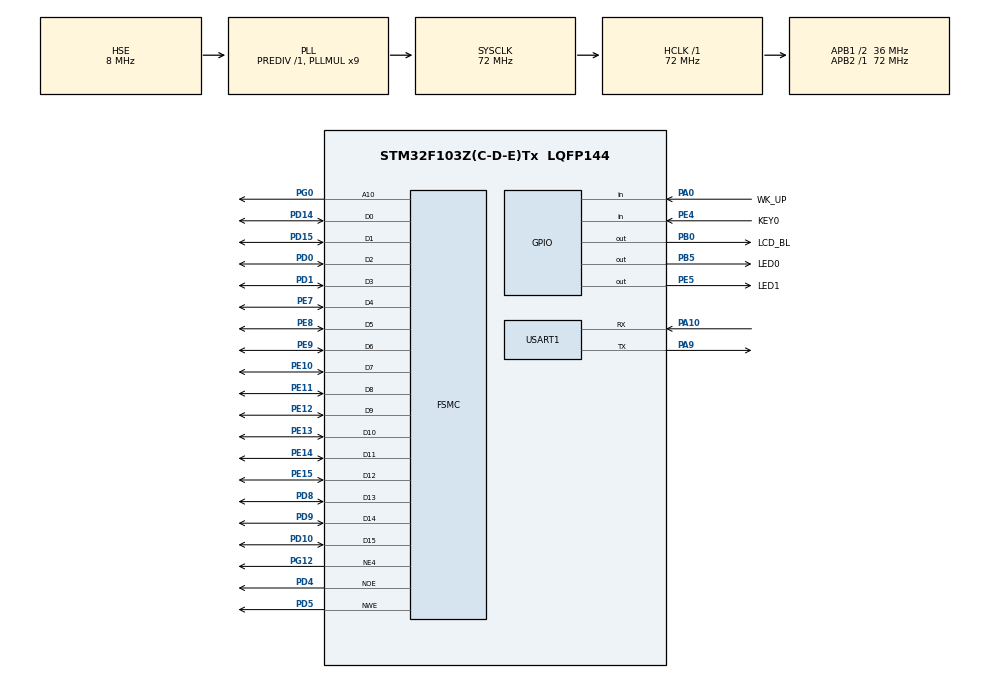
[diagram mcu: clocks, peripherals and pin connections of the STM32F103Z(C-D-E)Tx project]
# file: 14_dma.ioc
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Dma.Request0=USART1_TX
Dma.USART1_TX.0.Direction=DMA_MEMORY_TO_PERIPH
Dma.USART1_TX.0.Instance=DMA1_Channel4
Dma.USART1_TX.0.MemDataAlignment=DMA_MDATAALIGN_BYTE
Dma.USART1_TX.0.MemInc=DMA_MINC_ENABLE
Dma.USART1_TX.0.Mode=DMA_NORMAL
Dma.USART1_TX.0.PeriphDataAlignment=DMA_PDATAALIGN_BYTE
Dma.USART1_TX.0.PeriphInc=DMA_PINC_DISABLE
Dma.USART1_TX.0.Priority=DMA_PRIORITY_MEDIUM
FSMC.AddressSetupTime1=0
FSMC.DataSetupTime1=15
FSMC.ExtendedAddressSetupTime1=0
FSMC.ExtendedDataSetupTime1=1
FSMC.ExtendedMode1=FSMC_EXTENDED_MODE_ENABLE
Mcu.Family=STM32F1
Mcu.Name=STM32F103Z(C-D-E)Tx
Mcu.Package=LQFP144
NVIC.DMA1_Channel4_IRQn=true\:0\:0\:false\:false\:true\:false\:true\:true
NVIC.PriorityGroup=NVIC_PRIORITYGROUP_2
NVIC.USART1_IRQn=true\:2\:2\:true\:false\:true\:true\:true\:true
OSC_IN.Mode=HSE-External-Oscillator
OSC_IN.Signal=RCC_OSC_IN
OSC_OUT.Mode=HSE-External-Oscillator
OSC_OUT.Signal=RCC_OSC_OUT
PA0-WKUP.GPIO_Label=WK_UP
PA0-WKUP.GPIO_PuPd=GPIO_PULLDOWN
PA0-WKUP.Signal=GPIO_Input
PA10.Mode=Asynchronous
PA10.Signal=USART1_RX
PA13.Mode=Serial_Wire
PA13.Signal=SYS_JTMS-SWDIO
PA14.Mode=Serial_Wire
PA14.Signal=SYS_JTCK-SWCLK
PA9.Mode=Asynchronous
PA9.Signal=USART1_TX
PB0.GPIO_Label=LCD_BL
PB0.GPIO_PuPd=GPIO_PULLUP
PB0.GPIO_Speed=GPIO_SPEED_FREQ_HIGH
PB0.PinState=GPIO_PIN_SET
PB0.Signal=GPIO_Output
PB5.GPIO_Label=LED0
PB5.GPIO_PuPd=GPIO_PULLDOWN
PB5.GPIO_Speed=GPIO_SPEED_FREQ_HIGH
PB5.PinState=GPIO_PIN_SET
PB5.Signal=GPIO_Output
PC14-OSC32_IN.Mode=LSE-External-Oscillator
PC14-OSC32_IN.Signal=RCC_OSC32_IN
PC15-OSC32_OUT.Mode=LSE-External-Oscillator
PC15-OSC32_OUT.Signal=RCC_OSC32_OUT
PD0.Signal=FSMC_D2_DA2
PD1.Signal=FSMC_D3_DA3
PD10.Signal=FSMC_D15_DA15
PD14.Signal=FSMC_D0_DA0
PD15.Signal=FSMC_D1_DA1
PD4.Signal=FSMC_NOE
PD5.Signal=FSMC_NWE
PD8.Signal=FSMC_D13_DA13
PD9.Signal=FSMC_D14_DA14
PE10.Signal=FSMC_D7_DA7
PE11.Signal=FSMC_D8_DA8
PE12.Signal=FSMC_D9_DA9
PE13.Signal=FSMC_D10_DA10
PE14.Signal=FSMC_D11_DA11
PE15.Signal=FSMC_D12_DA12
PE4.GPIO_Label=KEY0
PE4.GPIO_PuPd=GPIO_PULLDOWN
PE4.Signal=GPIO_Input
PE5.GPIO_Label=LED1
PE5.GPIO_PuPd=GPIO_PULLDOWN
PE5.GPIO_Speed=GPIO_SPEED_FREQ_HIGH
PE5.PinState=GPIO_PIN_SET
PE5.Signal=GPIO_Output
PE7.Signal=FSMC_D4_DA4
PE8.Signal=FSMC_D5_DA5
PE9.Signal=FSMC_D6_DA6
PG0.Signal=FSMC_A10
PG12.Mode=NorPsramChipSelect4_1
PG12.Signal=FSMC_NE4
ProjectManager.HeapSize=0x200
ProjectManager.StackSize=0x400
ProjectManager.TargetToolchain=STM32CubeIDE
RCC.AHBFreq_Value=72000000
RCC.APB1CLKDivider=RCC_HCLK_DIV2
RCC.APB1Freq_Value=36000000
RCC.APB1TimFreq_Value=72000000
RCC.APB2Freq_Value=72000000
RCC.APB2TimFreq_Value=72000000
RCC.HCLKFreq_Value=72000000
RCC.PLLMUL=RCC_PLL_MUL9
RCC.PLLSourceVirtual=RCC_PLLSOURCE_HSE
RCC.SYSCLKFreq_VALUE=72000000
RCC.SYSCLKSource=RCC_SYSCLKSOURCE_PLLCLK
RCC.USBFreq_Value=72000000
SH.FSMC_A10.0=FSMC_A10,A10_1
SH.FSMC_D0_DA0.0=FSMC_D0,16b-d1
SH.FSMC_D10_DA10.0=FSMC_D10,16b-d1
SH.FSMC_D11_DA11.0=FSMC_D11,16b-d1
SH.FSMC_D12_DA12.0=FSMC_D12,16b-d1
SH.FSMC_D13_DA13.0=FSMC_D13,16b-d1
SH.FSMC_D14_DA14.0=FSMC_D14,16b-d1
SH.FSMC_D15_DA15.0=FSMC_D15,16b-d1
SH.FSMC_D1_DA1.0=FSMC_D1,16b-d1
SH.FSMC_D2_DA2.0=FSMC_D2,16b-d1
SH.FSMC_D3_DA3.0=FSMC_D3,16b-d1
SH.FSMC_D4_DA4.0=FSMC_D4,16b-d1
SH.FSMC_D5_DA5.0=FSMC_D5,16b-d1
SH.FSMC_D6_DA6.0=FSMC_D6,16b-d1
SH.FSMC_D7_DA7.0=FSMC_D7,16b-d1
SH.FSMC_D8_DA8.0=FSMC_D8,16b-d1
SH.FSMC_D9_DA9.0=FSMC_D9,16b-d1
SH.FSMC_NOE.0=FSMC_NOE,Lcd1
SH.FSMC_NWE.0=FSMC_NWE,Lcd1
USART1.VirtualMode=VM_ASYNC
board=custom

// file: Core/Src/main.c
/* USER CODE BEGIN Header */
/**
 ****************************************************************************************************
 * @file        main.c
 * @author      ALIENTEK
 * @brief       dma code
 * @license     Copyright (C) 2012-2024, ALIENTEK
 ****************************************************************************************************
 * @attention
 *
 * platform     : ALIENTEK M144-STM32F103 board
 * website      : www.alientek.com
 * forum        : www.openedv.com/forum.php
 *
 * change logs  :
 * version      data         notes
 * V1.0         20240410     the first version
 *
 ****************************************************************************************************
 */
/* USER CODE END Header */
#include "main.h"
#include "dma.h"
#include "usart.h"
#include "gpio.h"
#include "fsmc.h"

/* USER CODE BEGIN Includes */
#include "../../BSP/LED/led.h"
#include "../../BSP/KEY/key.h"
#include "../../BSP/LCD/lcd.h"
/* USER CODE END Includes */

void SystemClock_Config(void);
/* USER CODE BEGIN PFP */

extern DMA_HandleTypeDef hdma_usart1_tx;

uint8_t temp[] = {"Hello, M144Z-M3 STM32F103!\r\n"};
uint8_t buf[sizeof(temp) * 200];
uint8_t uart_ready = 1;

/* USER CODE END PFP */

/* USER CODE BEGIN 0 */

void HAL_UART_TxCpltCallback(UART_HandleTypeDef *huart)
{
    /* The mark transmission is completed and the next transmission can be carried out */
    uart_ready = 1;
}

/* USER CODE END 0 */

int main(void)
{
  /* USER CODE BEGIN 1 */
    uint8_t t = 0;
    uint8_t key;
    uint16_t buf_index;
    uint8_t temp_index;
  /* USER CODE END 1 */

  /* MCU Configuration--------------------------------------------------------*/

  /* Reset of all peripherals, Initializes the Flash interface and the Systick. */
  HAL_Init();

  /* Configure the system clock */
  SystemClock_Config();

  /* Initialize all configured peripherals */
  MX_GPIO_Init();
  MX_DMA_Init();
  MX_USART1_UART_Init();
  MX_FSMC_Init();
  /* USER CODE BEGIN 2 */

  lcd_init();

  lcd_show_string(30, 50, 200, 16, 16, "STM32", RED);
  lcd_show_string(30, 70, 200, 16, 16, "DMA TEST", RED);
  lcd_show_string(30, 90, 200, 16, 16, "ATOM@ALIENTEK", RED);
  lcd_show_string(30, 110, 200, 16, 16, "KEY0:Start", RED);

  for (buf_index=0; buf_index<200; buf_index++)
  {
      for (temp_index=0; temp_index<sizeof(temp); temp_index++)
      {
          buf[buf_index*sizeof(temp) + temp_index] = temp[temp_index];
      }
  }
  /* USER CODE END 2 */

  /* Infinite loop */
  while (1)
  {
      key = key_scan(0);

      if (key == KEY0_PRES)
      {
          if (uart_ready == 1)
          {
              uart_ready = 0;

              /* DMA transfers serial port data */
              HAL_UART_Transmit_DMA(&huart1, buf, sizeof(buf));
          }
      }

      if (++t == 20)
      {
          t = 0;
          LED0_TOGGLE();
      }
      HAL_Delay(10);
  }
}

void SystemClock_Config(void)
{
  RCC_OscInitTypeDef RCC_OscInitStruct = {0};
  RCC_ClkInitTypeDef RCC_ClkInitStruct = {0};

  /** Initializes the RCC Oscillators according to the specified parameters
  * in the RCC_OscInitTypeDef structure.
  */
  RCC_OscInitStruct.OscillatorType = RCC_OSCILLATORTYPE_HSE;
  RCC_OscInitStruct.HSEState = RCC_HSE_ON;
  RCC_OscInitStruct.HSEPredivValue = RCC_HSE_PREDIV_DIV1;
  RCC_OscInitStruct.HSIState = RCC_HSI_ON;
  RCC_OscInitStruct.PLL.PLLState = RCC_PLL_ON;
  RCC_OscInitStruct.PLL.PLLSource = RCC_PLLSOURCE_HSE;
  RCC_OscInitStruct.PLL.PLLMUL = RCC_PLL_MUL9;
  if (HAL_RCC_OscConfig(&RCC_OscInitStruct) != HAL_OK)
  {
    Error_Handler();
  }

  /** Initializes the CPU, AHB and APB buses clocks
  */
  RCC_ClkInitStruct.ClockType = RCC_CLOCKTYPE_HCLK|RCC_CLOCKTYPE_SYSCLK
                              |RCC_CLOCKTYPE_PCLK1|RCC_CLOCKTYPE_PCLK2;
  RCC_ClkInitStruct.SYSCLKSource = RCC_SYSCLKSOURCE_PLLCLK;
  RCC_ClkInitStruct.AHBCLKDivider = RCC_SYSCLK_DIV1;
  RCC_ClkInitStruct.APB1CLKDivider = RCC_HCLK_DIV2;
  RCC_ClkInitStruct.APB2CLKDivider = RCC_HCLK_DIV1;

  if (HAL_RCC_ClockConfig(&RCC_ClkInitStruct, FLASH_LATENCY_2) != HAL_OK)
  {
    Error_Handler();
  }
}

void Error_Handler(void)
{
  __disable_irq();
  while (1)
  {
  }
}
